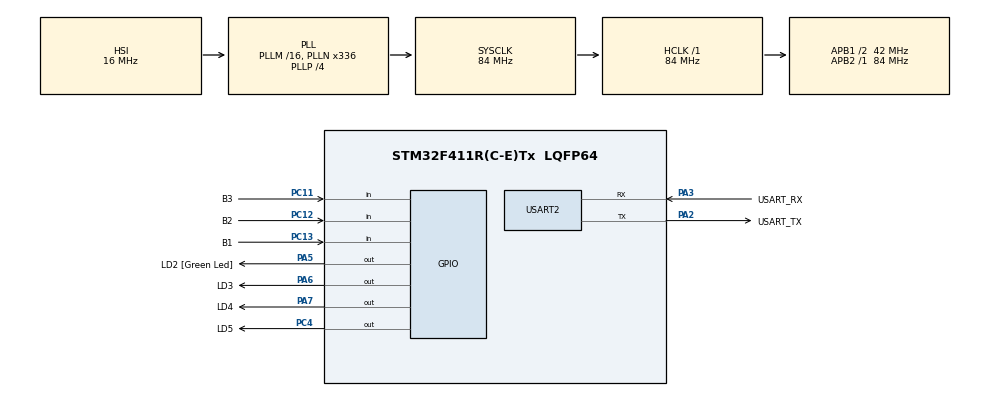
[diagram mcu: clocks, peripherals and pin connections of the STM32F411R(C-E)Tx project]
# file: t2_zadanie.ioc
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Mcu.Family=STM32F4
Mcu.Name=STM32F411R(C-E)Tx
Mcu.Package=LQFP64
NVIC.PriorityGroup=NVIC_PRIORITYGROUP_0
PA13.GPIO_Label=TMS
PA13.Mode=Serial_Wire
PA13.Signal=SYS_JTMS-SWDIO
PA14.GPIO_Label=TCK
PA14.Mode=Serial_Wire
PA14.Signal=SYS_JTCK-SWCLK
PA2.GPIO_Label=USART_TX
PA2.Mode=Asynchronous
PA2.Signal=USART2_TX
PA3.GPIO_Label=USART_RX
PA3.Mode=Asynchronous
PA3.Signal=USART2_RX
PA5.GPIO_Label=LD2 [Green Led]
PA5.Signal=GPIO_Output
PA6.GPIO_Label=LD3
PA6.Signal=GPIO_Output
PA7.GPIO_Label=LD4
PA7.Signal=GPIO_Output
PB3.GPIO_Label=SWO
PB3.Signal=SYS_JTDO-SWO
PC11.GPIO_Label=B3
PC11.GPIO_PuPd=GPIO_PULLUP
PC11.Signal=GPIO_Input
PC12.GPIO_Label=B2
PC12.GPIO_PuPd=GPIO_PULLUP
PC12.Signal=GPIO_Input
PC13-ANTI_TAMP.GPIO_Label=B1
PC13-ANTI_TAMP.Signal=GPIO_Input
PC14-OSC32_IN.Mode=LSE-External-Oscillator
PC14-OSC32_IN.Signal=RCC_OSC32_IN
PC15-OSC32_OUT.Mode=LSE-External-Oscillator
PC15-OSC32_OUT.Signal=RCC_OSC32_OUT
PC4.GPIO_Label=LD5
PC4.Signal=GPIO_Output
PH0\ -\ OSC_IN.Mode=HSE-External-Clock-Source
PH0\ -\ OSC_IN.Signal=RCC_OSC_IN
PH1\ -\ OSC_OUT.Mode=HSE-External-Clock-Source
PH1\ -\ OSC_OUT.Signal=RCC_OSC_OUT
ProjectManager.HeapSize=0x200
ProjectManager.StackSize=0x400
ProjectManager.TargetToolchain=STM32CubeIDE
RCC.48MHZClocksFreq_Value=84000000
RCC.AHBFreq_Value=84000000
RCC.APB1CLKDivider=RCC_HCLK_DIV2
RCC.APB1Freq_Value=42000000
RCC.APB1TimFreq_Value=84000000
RCC.APB2Freq_Value=84000000
RCC.APB2TimFreq_Value=84000000
RCC.CortexFreq_Value=84000000
RCC.FLatency-AdvancedSettings=FLASH_LATENCY_2
RCC.HCLKFreq_Value=84000000
RCC.HSE_VALUE=8000000
RCC.HSI_VALUE=16000000
RCC.PLLN=336
RCC.PLLP=RCC_PLLP_DIV4
RCC.SYSCLKFreq_VALUE=84000000
RCC.SYSCLKSource=RCC_SYSCLKSOURCE_PLLCLK
RCC.VCOOutputFreq_Value=336000000
USART2.VirtualMode=VM_ASYNC
board=NUCLEO-F411RE

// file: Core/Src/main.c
/* USER CODE BEGIN Header */
/**
  ******************************************************************************
  * @file           : main.c
  * @brief          : Main program body
  ******************************************************************************
  * @attention
  *
  * <h2><center>&copy; Copyright (c) 2020 STMicroelectronics.
  * All rights reserved.</center></h2>
  *
  * This software component is licensed by ST under BSD 3-Clause license,
  * the "License"; You may not use this file except in compliance with the
  * License. You may obtain a copy of the License at:
  *                        opensource.org/licenses/BSD-3-Clause
  *
  ******************************************************************************
  */
/* USER CODE END Header */
#include "main.h"
#include "usart.h"
#include "gpio.h"

/* USER CODE BEGIN Includes */
#include "button.h"
/* USER CODE END Includes */

/* USER CODE BEGIN PV */
extern TButton BlueKey;
extern TButton RedKey;
extern TButton GreenKey;
/* USER CODE END PV */

void SystemClock_Config(void);
/* USER CODE BEGIN PFP */
void TurnOnLed2(void);
void TurnOffLed2(void);
void ToggleLed2(void);
void TurnOnLed3(void);
void TurnOffLed3(void);
void ToggleLed3(void);
void TurnOnLed4(void);
void TurnOffLed4(void);
void ToggleLed4(void);
void BlinkLed5(void);

/* USER CODE END PFP */

int main(void)
{

  /* MCU Configuration--------------------------------------------------------*/

  /* Reset of all peripherals, Initializes the Flash interface and the Systick. */
  HAL_Init();

  /* Configure the system clock */
  SystemClock_Config();

  /* Initialize all configured peripherals */
  MX_GPIO_Init();
  MX_USART2_UART_Init();
  /* USER CODE BEGIN 2 */

  /* init Blue Key */
  ButtonInitKey(&BlueKey, B1_GPIO_Port, B1_Pin, 10, 30, 2000, 500);
  ButtonRegisterPressCallback(&BlueKey, TurnOnLed2);
  ButtonRegisterLongPressCallback(&BlueKey, TurnOffLed2);
  ButtonRegisterRepeatPressCallback(&BlueKey, ToggleLed2);
  ButtonRegisterReleaseCallback(&BlueKey, BlinkLed5);

  /* init Red Key */
  ButtonInitKey(&RedKey, B1_GPIO_Port, B2_Pin, 10, 30, 2000, 500);
  ButtonRegisterPressCallback(&RedKey, TurnOnLed3);
  ButtonRegisterLongPressCallback(&RedKey, TurnOffLed3);
  ButtonRegisterRepeatPressCallback(&RedKey, ToggleLed3);
  ButtonRegisterReleaseCallback(&RedKey, BlinkLed5);

  /* init Green Key */
  ButtonInitKey(&GreenKey, B1_GPIO_Port, B3_Pin, 10, 30, 2000, 500);
  ButtonRegisterPressCallback(&GreenKey, TurnOnLed4);
  ButtonRegisterLongPressCallback(&GreenKey, TurnOffLed4);
  ButtonRegisterRepeatPressCallback(&GreenKey, ToggleLed4);
  ButtonRegisterReleaseCallback(&GreenKey, BlinkLed5);

  /* USER CODE END 2 */

  /* Infinite loop */
  while (1)
  {
	  ButtonTask(&BlueKey);
	  ButtonTask(&RedKey);
	  ButtonTask(&GreenKey);
  }
}

void SystemClock_Config(void)
{
  RCC_OscInitTypeDef RCC_OscInitStruct = {0};
  RCC_ClkInitTypeDef RCC_ClkInitStruct = {0};

  /** Configure the main internal regulator output voltage
  */
  __HAL_RCC_PWR_CLK_ENABLE();
  __HAL_PWR_VOLTAGESCALING_CONFIG(PWR_REGULATOR_VOLTAGE_SCALE1);
  /** Initializes the RCC Oscillators according to the specified parameters
  * in the RCC_OscInitTypeDef structure.
  */
  RCC_OscInitStruct.OscillatorType = RCC_OSCILLATORTYPE_HSI;
  RCC_OscInitStruct.HSIState = RCC_HSI_ON;
  RCC_OscInitStruct.HSICalibrationValue = RCC_HSICALIBRATION_DEFAULT;
  RCC_OscInitStruct.PLL.PLLState = RCC_PLL_ON;
  RCC_OscInitStruct.PLL.PLLSource = RCC_PLLSOURCE_HSI;
  RCC_OscInitStruct.PLL.PLLM = 16;
  RCC_OscInitStruct.PLL.PLLN = 336;
  RCC_OscInitStruct.PLL.PLLP = RCC_PLLP_DIV4;
  RCC_OscInitStruct.PLL.PLLQ = 4;
  if (HAL_RCC_OscConfig(&RCC_OscInitStruct) != HAL_OK)
  {
    Error_Handler();
  }
  /** Initializes the CPU, AHB and APB buses clocks
  */
  RCC_ClkInitStruct.ClockType = RCC_CLOCKTYPE_HCLK|RCC_CLOCKTYPE_SYSCLK
                              |RCC_CLOCKTYPE_PCLK1|RCC_CLOCKTYPE_PCLK2;
  RCC_ClkInitStruct.SYSCLKSource = RCC_SYSCLKSOURCE_PLLCLK;
  RCC_ClkInitStruct.AHBCLKDivider = RCC_SYSCLK_DIV1;
  RCC_ClkInitStruct.APB1CLKDivider = RCC_HCLK_DIV2;
  RCC_ClkInitStruct.APB2CLKDivider = RCC_HCLK_DIV1;

  if (HAL_RCC_ClockConfig(&RCC_ClkInitStruct, FLASH_LATENCY_2) != HAL_OK)
  {
    Error_Handler();
  }
}

/* USER CODE BEGIN 4 */
void TurnOnLed2(void)
{
	HAL_GPIO_WritePin(LD2_GPIO_Port, LD2_Pin, GPIO_PIN_SET);
}

void TurnOffLed2(void)
{
	HAL_GPIO_WritePin(LD2_GPIO_Port, LD2_Pin, GPIO_PIN_RESET);
}

void ToggleLed2(void)
{
	HAL_GPIO_TogglePin(LD2_GPIO_Port, LD2_Pin);
}

void TurnOnLed3(void)
{
	HAL_GPIO_WritePin(LD3_GPIO_Port, LD3_Pin, GPIO_PIN_SET);
}

void TurnOffLed3(void)
{
	HAL_GPIO_WritePin(LD3_GPIO_Port, LD3_Pin, GPIO_PIN_RESET);
}

void ToggleLed3(void)
{
	HAL_GPIO_TogglePin(LD3_GPIO_Port, LD3_Pin);
}

void TurnOnLed4(void)
{
	HAL_GPIO_WritePin(LD4_GPIO_Port, LD4_Pin, GPIO_PIN_SET);
}

void TurnOffLed4(void)
{
	HAL_GPIO_WritePin(LD4_GPIO_Port, LD4_Pin, GPIO_PIN_RESET);
}

void ToggleLed4(void)
{
	HAL_GPIO_TogglePin(LD4_GPIO_Port, LD4_Pin);
}

void BlinkLed5(void)
{
	HAL_GPIO_WritePin(LD5_GPIO_Port, LD5_Pin, GPIO_PIN_SET);
	HAL_Delay(20);
	HAL_GPIO_WritePin(LD5_GPIO_Port, LD5_Pin, GPIO_PIN_RESET);

}

/* USER CODE END 4 */

void Error_Handler(void)
{
}

/************************ (C) COPYRIGHT STMicroelectronics *****END OF FILE****/
